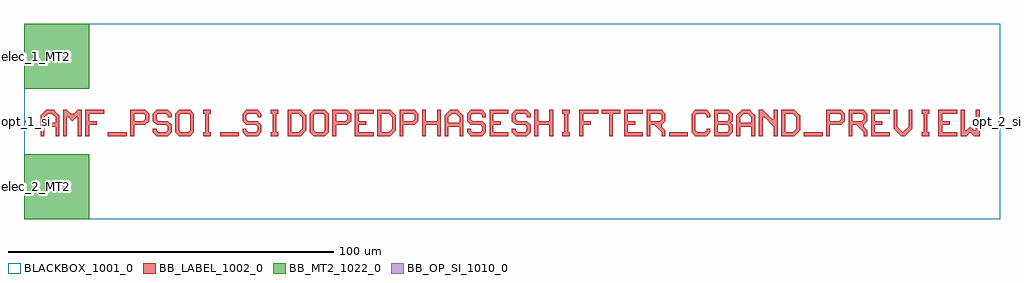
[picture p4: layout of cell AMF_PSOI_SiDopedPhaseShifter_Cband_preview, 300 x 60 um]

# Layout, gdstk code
import gdstk
lib = gdstk.Library(unit=1e-6, precision=1e-09)
def R(c, l, rs):  # rectangles x0, y0, x1, y1
    for r in rs: c.add(gdstk.rectangle(r[:2], r[2:], *l))
def P(c, l, *ps):  # polygons
    for p in ps: c.add(gdstk.Polygon(p, *l))
BLACKBOX_1001_0 = (1001, 0)
BB_LABEL_1002_0 = (1002, 0)
BB_OP_SI_1010_0 = (1010, 0)
BB_MT2_1022_0 = (1022, 0)

amf_psoi_sidopedphaseshi = lib.new_cell('AMF_PSOI_SiDopedPhaseShifter_Cband_preview')
R(amf_psoi_sidopedphaseshi, BLACKBOX_1001_0, [(0,-30,300,30)])
R(amf_psoi_sidopedphaseshi, BB_LABEL_1002_0, [(25.794,-4.458,31.544,-3.308), (60.294,-4.458,66.044,-3.308), (198.294,-4.458,204.044,-3.308), (239.694,-4.458,245.444,-3.308)])
P(amf_psoi_sidopedphaseshi, BB_LABEL_1002_0, [(5.094,-4.458),(5.094,1.867),(6.819,3.592),(9.119,3.592),(10.269,2.442),(7.394,2.442),(6.244,1.292),(6.244,-0.433),(9.694,-0.433),(9.694,1.292),(8.544,2.442),(10.269,2.442),(10.844,1.867),(10.844,-4.458),(9.694,-4.458),(9.694,-1.583),(6.244,-1.583),(6.244,-4.458)],
  [(11.994,-4.458),(11.994,3.592),(13.144,3.592),(14.294,2.442),(15.444,2.442),(16.594,3.592),(17.744,3.592),(17.744,-4.458),(16.594,-4.458),(16.594,1.292),(16.019,1.292),(14.869,0.142),(13.719,1.292),(13.144,1.292),(13.144,-4.458)],
  [(18.894,-4.458),(18.894,3.592),(24.644,3.592),(24.644,2.442),(20.044,2.442),(20.044,0.142),(22.344,0.142),(22.344,-1.008),(20.044,-1.008),(20.044,-4.458)],
  [(32.694,-4.458),(32.694,3.592),(37.294,3.592),(38.444,2.442),(38.444,0.142),(37.294,-1.008),(33.844,-1.008),(33.844,0.142),(36.719,0.142),(37.294,0.717),(37.294,1.867),(36.719,2.442),(33.844,2.442),(33.844,-4.458)],
  [(40.744,-4.458),(39.594,-3.308),(39.594,-2.158),(40.744,-2.158),(40.744,-2.733),(41.319,-3.308),(43.619,-3.308),(44.194,-2.733),(44.194,-1.583),(43.619,-1.008),(40.744,-1.008),(39.594,0.142),(39.594,2.442),(40.744,3.592),(44.194,3.592),(45.344,2.442),(45.344,1.292),(44.194,1.292),(44.194,1.867),(43.619,2.442),(41.319,2.442),(40.744,1.867),(40.744,0.717),(41.319,0.142),(44.194,0.142),(45.344,-1.008),(45.344,-3.308),(44.194,-4.458)],
  [(47.644,-4.458),(46.494,-3.308),(46.494,2.442),(47.644,3.592),(51.094,3.592),(52.244,2.442),(52.244,-0.433),(51.094,-0.433),(51.094,1.867),(50.519,2.442),(48.219,2.442),(47.644,1.867),(47.644,-2.733),(48.219,-3.308),(50.519,-3.308),(51.094,-2.733),(51.094,-0.433),(52.244,-0.433),(52.244,-3.308),(51.094,-4.458)],
  [(55.119,-4.458),(55.119,-3.308),(55.694,-3.308),(55.694,2.442),(55.119,2.442),(55.119,3.592),(57.419,3.592),(57.419,2.442),(56.844,2.442),(56.844,-3.308),(57.419,-3.308),(57.419,-4.458)],
  [(68.344,-4.458),(67.194,-3.308),(67.194,-2.158),(68.344,-2.158),(68.344,-2.733),(68.919,-3.308),(71.219,-3.308),(71.794,-2.733),(71.794,-1.583),(71.219,-1.008),(68.344,-1.008),(67.194,0.142),(67.194,2.442),(68.344,3.592),(71.794,3.592),(72.944,2.442),(72.944,1.292),(71.794,1.292),(71.794,1.867),(71.219,2.442),(68.919,2.442),(68.344,1.867),(68.344,0.717),(68.919,0.142),(71.794,0.142),(72.944,-1.008),(72.944,-3.308),(71.794,-4.458)],
  [(75.819,-4.458),(75.819,-3.308),(76.394,-3.308),(76.394,2.442),(75.819,2.442),(75.819,3.592),(78.119,3.592),(78.119,2.442),(77.544,2.442),(77.544,-3.308),(78.119,-3.308),(78.119,-4.458)],
  [(80.994,-4.458),(80.994,3.592),(85.019,3.592),(86.169,2.442),(82.144,2.442),(82.144,-3.308),(84.444,-3.308),(85.594,-2.158),(85.594,1.292),(84.444,2.442),(86.169,2.442),(86.744,1.867),(86.744,-2.733),(85.019,-4.458)],
  [(89.044,-4.458),(87.894,-3.308),(87.894,2.442),(89.044,3.592),(92.494,3.592),(93.644,2.442),(93.644,-0.433),(92.494,-0.433),(92.494,1.867),(91.919,2.442),(89.619,2.442),(89.044,1.867),(89.044,-2.733),(89.619,-3.308),(91.919,-3.308),(92.494,-2.733),(92.494,-0.433),(93.644,-0.433),(93.644,-3.308),(92.494,-4.458)],
  [(94.794,-4.458),(94.794,3.592),(99.394,3.592),(100.544,2.442),(100.544,0.142),(99.394,-1.008),(95.944,-1.008),(95.944,0.142),(98.819,0.142),(99.394,0.717),(99.394,1.867),(98.819,2.442),(95.944,2.442),(95.944,-4.458)],
  [(101.694,-4.458),(101.694,3.592),(107.444,3.592),(107.444,2.442),(102.844,2.442),(102.844,0.142),(105.144,0.142),(105.144,-1.008),(102.844,-1.008),(102.844,-3.308),(107.444,-3.308),(107.444,-4.458)],
  [(108.594,-4.458),(108.594,3.592),(112.619,3.592),(113.769,2.442),(109.744,2.442),(109.744,-3.308),(112.044,-3.308),(113.194,-2.158),(113.194,1.292),(112.044,2.442),(113.769,2.442),(114.344,1.867),(114.344,-2.733),(112.619,-4.458)],
  [(115.494,-4.458),(115.494,3.592),(120.094,3.592),(121.244,2.442),(121.244,0.142),(120.094,-1.008),(116.644,-1.008),(116.644,0.142),(119.519,0.142),(120.094,0.717),(120.094,1.867),(119.519,2.442),(116.644,2.442),(116.644,-4.458)],
  [(122.394,-4.458),(122.394,3.592),(123.544,3.592),(123.544,0.142),(126.994,0.142),(126.994,3.592),(128.144,3.592),(128.144,-4.458),(126.994,-4.458),(126.994,-1.008),(123.544,-1.008),(123.544,-4.458)],
  [(129.294,-4.458),(129.294,1.867),(131.019,3.592),(133.319,3.592),(134.469,2.442),(131.594,2.442),(130.444,1.292),(130.444,-0.433),(133.894,-0.433),(133.894,1.292),(132.744,2.442),(134.469,2.442),(135.044,1.867),(135.044,-4.458),(133.894,-4.458),(133.894,-1.583),(130.444,-1.583),(130.444,-4.458)],
  [(137.344,-4.458),(136.194,-3.308),(136.194,-2.158),(137.344,-2.158),(137.344,-2.733),(137.919,-3.308),(140.219,-3.308),(140.794,-2.733),(140.794,-1.583),(140.219,-1.008),(137.344,-1.008),(136.194,0.142),(136.194,2.442),(137.344,3.592),(140.794,3.592),(141.944,2.442),(141.944,1.292),(140.794,1.292),(140.794,1.867),(140.219,2.442),(137.919,2.442),(137.344,1.867),(137.344,0.717),(137.919,0.142),(140.794,0.142),(141.944,-1.008),(141.944,-3.308),(140.794,-4.458)],
  [(143.094,-4.458),(143.094,3.592),(148.844,3.592),(148.844,2.442),(144.244,2.442),(144.244,0.142),(146.544,0.142),(146.544,-1.008),(144.244,-1.008),(144.244,-3.308),(148.844,-3.308),(148.844,-4.458)],
  [(151.144,-4.458),(149.994,-3.308),(149.994,-2.158),(151.144,-2.158),(151.144,-2.733),(151.719,-3.308),(154.019,-3.308),(154.594,-2.733),(154.594,-1.583),(154.019,-1.008),(151.144,-1.008),(149.994,0.142),(149.994,2.442),(151.144,3.592),(154.594,3.592),(155.744,2.442),(155.744,1.292),(154.594,1.292),(154.594,1.867),(154.019,2.442),(151.719,2.442),(151.144,1.867),(151.144,0.717),(151.719,0.142),(154.594,0.142),(155.744,-1.008),(155.744,-3.308),(154.594,-4.458)],
  [(156.894,-4.458),(156.894,3.592),(158.044,3.592),(158.044,0.142),(161.494,0.142),(161.494,3.592),(162.644,3.592),(162.644,-4.458),(161.494,-4.458),(161.494,-1.008),(158.044,-1.008),(158.044,-4.458)],
  [(165.519,-4.458),(165.519,-3.308),(166.094,-3.308),(166.094,2.442),(165.519,2.442),(165.519,3.592),(167.819,3.592),(167.819,2.442),(167.244,2.442),(167.244,-3.308),(167.819,-3.308),(167.819,-4.458)],
  [(170.694,-4.458),(170.694,3.592),(176.444,3.592),(176.444,2.442),(171.844,2.442),(171.844,0.142),(174.144,0.142),(174.144,-1.008),(171.844,-1.008),(171.844,-4.458)],
  [(179.894,-4.458),(179.894,2.442),(177.594,2.442),(177.594,3.592),(183.344,3.592),(183.344,2.442),(181.044,2.442),(181.044,-4.458)],
  [(184.494,-4.458),(184.494,3.592),(190.244,3.592),(190.244,2.442),(185.644,2.442),(185.644,0.142),(187.944,0.142),(187.944,-1.008),(185.644,-1.008),(185.644,-3.308),(190.244,-3.308),(190.244,-4.458)],
  [(191.394,-4.458),(191.394,3.592),(195.994,3.592),(197.144,2.442),(192.544,2.442),(192.544,0.142),(195.419,0.142),(195.994,0.717),(195.994,1.867),(195.419,2.442),(197.144,2.442),(197.144,0.142),(195.994,-1.008),(195.994,-1.583),(197.144,-2.733),(197.144,-4.458),(195.994,-4.458),(195.994,-3.308),(193.694,-1.008),(192.544,-1.008),(192.544,-4.458)],
  [(206.344,-4.458),(205.194,-3.308),(205.194,2.442),(206.344,3.592),(209.794,3.592),(210.944,2.442),(210.944,1.292),(209.794,1.292),(209.794,1.867),(209.219,2.442),(206.919,2.442),(206.344,1.867),(206.344,-2.733),(206.919,-3.308),(209.219,-3.308),(209.794,-2.733),(209.794,-2.158),(210.944,-2.158),(210.944,-3.308),(209.794,-4.458)],
  [(212.094,-4.458),(212.094,3.592),(216.694,3.592),(217.844,2.442),(213.244,2.442),(213.244,0.142),(216.119,0.142),(216.694,0.717),(216.694,1.867),(216.119,2.442),(217.844,2.442),(217.844,0.142),(217.269,-0.433),(217.844,-1.008),(213.244,-1.008),(213.244,-3.308),(216.119,-3.308),(216.694,-2.733),(216.694,-1.583),(216.119,-1.008),(217.844,-1.008),(217.844,-3.308),(216.694,-4.458)],
  [(218.994,-4.458),(218.994,1.867),(220.719,3.592),(223.019,3.592),(224.169,2.442),(221.294,2.442),(220.144,1.292),(220.144,-0.433),(223.594,-0.433),(223.594,1.292),(222.444,2.442),(224.169,2.442),(224.744,1.867),(224.744,-4.458),(223.594,-4.458),(223.594,-1.583),(220.144,-1.583),(220.144,-4.458)],
  [(225.894,-4.458),(225.894,3.592),(227.044,3.592),(229.919,0.717),(230.494,0.717),(230.494,3.592),(231.644,3.592),(231.644,-4.458),(230.494,-4.458),(230.494,-1.583),(227.619,1.292),(227.044,1.292),(227.044,-4.458)],
  [(232.794,-4.458),(232.794,3.592),(236.819,3.592),(237.969,2.442),(233.944,2.442),(233.944,-3.308),(236.244,-3.308),(237.394,-2.158),(237.394,1.292),(236.244,2.442),(237.969,2.442),(238.544,1.867),(238.544,-2.733),(236.819,-4.458)],
  [(246.594,-4.458),(246.594,3.592),(251.194,3.592),(252.344,2.442),(252.344,0.142),(251.194,-1.008),(247.744,-1.008),(247.744,0.142),(250.619,0.142),(251.194,0.717),(251.194,1.867),(250.619,2.442),(247.744,2.442),(247.744,-4.458)],
  [(253.494,-4.458),(253.494,3.592),(258.094,3.592),(259.244,2.442),(254.644,2.442),(254.644,0.142),(257.519,0.142),(258.094,0.717),(258.094,1.867),(257.519,2.442),(259.244,2.442),(259.244,0.142),(258.094,-1.008),(258.094,-1.583),(259.244,-2.733),(259.244,-4.458),(258.094,-4.458),(258.094,-3.308),(255.794,-1.008),(254.644,-1.008),(254.644,-4.458)],
  [(260.394,-4.458),(260.394,3.592),(266.144,3.592),(266.144,2.442),(261.544,2.442),(261.544,0.142),(263.844,0.142),(263.844,-1.008),(261.544,-1.008),(261.544,-3.308),(266.144,-3.308),(266.144,-4.458)],
  [(269.594,-4.458),(267.294,-2.158),(267.294,3.592),(268.444,3.592),(268.444,-1.583),(270.169,-3.308),(271.894,-1.583),(271.894,3.592),(273.044,3.592),(273.044,-2.158),(270.744,-4.458)],
  [(275.919,-4.458),(275.919,-3.308),(276.494,-3.308),(276.494,2.442),(275.919,2.442),(275.919,3.592),(278.219,3.592),(278.219,2.442),(277.644,2.442),(277.644,-3.308),(278.219,-3.308),(278.219,-4.458)],
  [(281.094,-4.458),(281.094,3.592),(286.844,3.592),(286.844,2.442),(282.244,2.442),(282.244,0.142),(284.544,0.142),(284.544,-1.008),(282.244,-1.008),(282.244,-3.308),(286.844,-3.308),(286.844,-4.458)],
  [(287.994,-4.458),(287.994,3.592),(289.144,3.592),(289.144,-2.733),(289.719,-2.733),(290.869,-1.583),(292.019,-2.733),(292.594,-2.733),(292.594,3.592),(293.744,3.592),(293.744,-4.458),(292.019,-4.458),(290.869,-3.308),(289.719,-4.458)])
R(amf_psoi_sidopedphaseshi, BB_OP_SI_1010_0, [(0,-0.25,0.5,0.25), (299.5,-0.25,300,0.25)])
R(amf_psoi_sidopedphaseshi, BB_MT2_1022_0, [(0,-30,20,-10), (0,10,20,30)])
amf_psoi_sidopedphaseshi.add(gdstk.Label('opt_2_si', (300,0), layer=1010, texttype=0))
amf_psoi_sidopedphaseshi.add(gdstk.Label('opt_1_si', (0,0), layer=1010, texttype=0))
amf_psoi_sidopedphaseshi.add(gdstk.Label('elec_1_MT2', (0,20), layer=1022, texttype=0))
amf_psoi_sidopedphaseshi.add(gdstk.Label('elec_2_MT2', (0,-20), layer=1022, texttype=0))

lib.write_gds('AMF_PSOI_SiDopedPhaseShifter_Cband_preview.gds')
